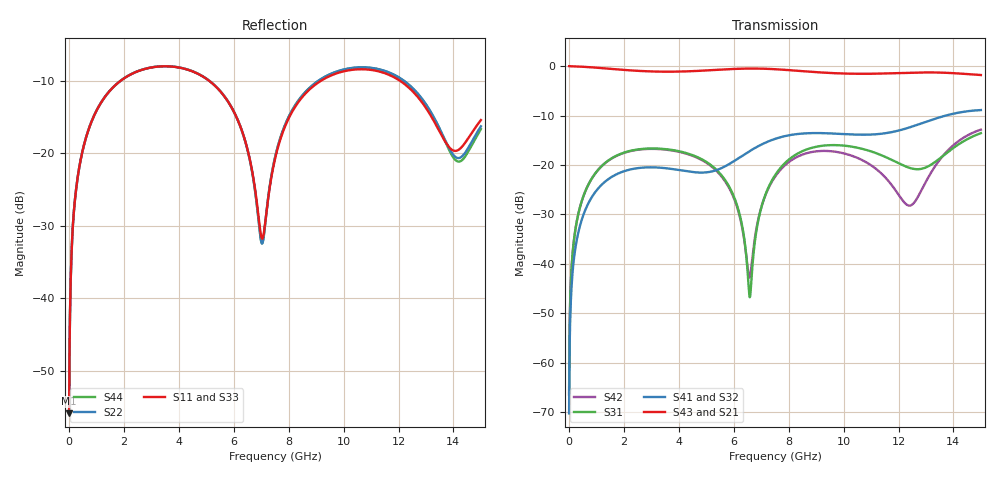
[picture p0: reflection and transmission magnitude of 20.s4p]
! Created with skrf 1.8.0 (http://scikit-rf.org).
# GHz S RI R 50.0
!freq ReS11 ImS11 ReS12 ImS12 ReS13 ImS13
! ReS14 ImS14
! ReS21 ImS21 ReS22 ImS22 ReS23 ImS23
! ReS24 ImS24
! ReS31 ImS31 ReS32 ImS32 ReS33 ImS33
! ReS34 ImS34
! ReS41 ImS41 ReS42 ImS42 ReS43 ImS43
! ReS44 ImS44
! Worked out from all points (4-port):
!   2499 points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, 5 MHz to 15 GHz, reference 50 ohm
!   strongest paths, dB at 5 MHz, 3.476 GHz, 7.19 GHz, 11.1 GHz, 15 GHz:
!     S43: 0.0, -1.1, -0.5, -1.5, -1.8
!     S21: 0.0, -1.1, -0.5, -1.5, -1.8
!     S41: -70.2, -20.6, -15.4, -13.8, -8.9
!     S32: -70.2, -20.7, -15.4, -13.8, -8.9
!     S31: -66.4, -16.8, -25.5, -17.4, -13.6
!     S42: -66.4, -16.9, -25.6, -20.4, -12.9
!   lowest |S11| = -55.9 dB at 5 MHz (marker M1), VSWR 1.00, Z = 50.1 + j0.0981 ohm
!   |S11| at or under -10 dB: start of sweep to 1.883 GHz; 5.101 GHz to 9.177 GHz (4.076 GHz wide, 57.1 % of centre); 12.05 GHz to end of sweep
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0.005  0.00128 0.000979  0.9987 -0.0025  6.22e-05 0.000473  -6.06e-05 -0.000301
       0.9987 -0.0025  0.00128 0.000979  -6.06e-05 -0.000301  6.21e-05 0.000473
       6.22e-05 0.000473  -6.06e-05 -0.000301  0.00128 0.000979  0.9987 -0.0025
       -6.06e-05 -0.000301  6.21e-05 0.000473  0.9987 -0.0025  0.00128 0.000979
0.4126719  0.0241 0.0842  0.9667 -0.2038  0.0109 0.0369  -0.009 -0.0233
           0.9667 -0.2038  0.0241 0.0842  -0.00899 -0.0233  0.0107 0.037
           0.0109 0.0369  -0.00899 -0.0233  0.0241 0.0842  0.9667 -0.2038
           -0.009 -0.0233  0.0107 0.037  0.9667 -0.2038  0.0241 0.0842
1.975823  0.2689 0.1835  0.5541 -0.7297  0.1202 0.0557  -0.0856 -0.00706
          0.5541 -0.7297  0.2697 0.1829  -0.0855 -0.00715  0.1181 0.0586
          0.1202 0.0557  -0.0855 -0.00715  0.269 0.1834  0.5541 -0.7296
          -0.0856 -0.00706  0.1181 0.0586  0.5541 -0.7296  0.2697 0.183
6.583993  0.042 -0.0809  -0.9101 -0.2541  -0.00459 0.00013  -0.0325 0.1345
          -0.9101 -0.2541  0.0396 -0.0813  -0.0339 0.1341  -0.0073 0.000607
          -0.00459 0.00013  -0.0339 0.1341  0.0418 -0.0809  -0.9101 -0.2542
          -0.0325 0.1345  -0.0073 0.000607  -0.9101 -0.2542  0.0397 -0.0812
7.015423  0.0257 -0.00462  -0.9405 -0.0608  0.00739 0.0374  -0.00525 0.1612
          -0.9405 -0.0608  0.0238 -0.0036  -0.00687 0.1611  0.000291 0.0383
          0.00739 0.0374  -0.00687 0.1611  0.0256 -0.00455  -0.9405 -0.061
          -0.00525 0.1612  0.000291 0.0383  -0.9405 -0.061  0.0238 -0.00364
11.01084  0.3733 -0.0378  0.0628 0.8345  0.0743 -0.115  0.1952 -0.0564
          0.0628 0.8345  0.3845 -0.0517  0.1955 -0.053  0.0761 -0.0631
          0.0743 -0.115  0.1955 -0.053  0.3729 -0.0373  0.0625 0.8349
          0.1952 -0.0564  0.0761 -0.0631  0.0625 0.8349  0.3832 -0.052
15  0.1538 0.071  0.7825 -0.2199  0.0996 0.1847  -0.1367 -0.3323
    0.7825 -0.2199  0.139 0.0648  -0.1307 -0.3324  0.1265 0.1894
    0.0996 0.1847  -0.1307 -0.3324  0.1603 0.07  0.7828 -0.219
    -0.1367 -0.3323  0.1265 0.1894  0.7828 -0.219  0.1317 0.0653
